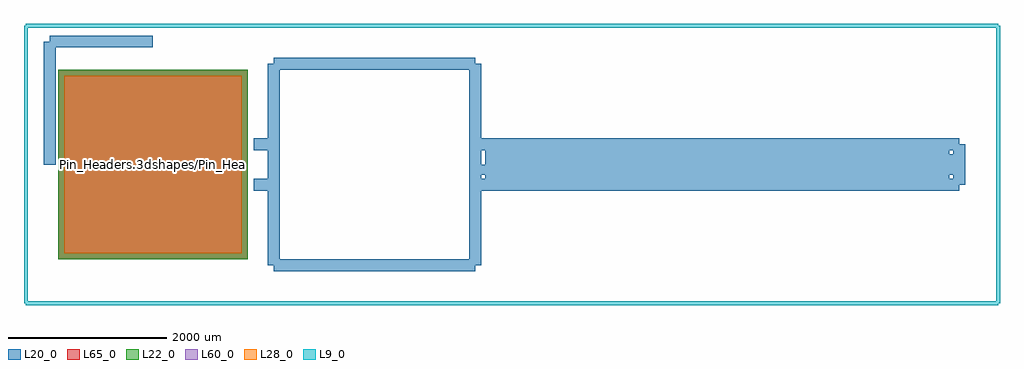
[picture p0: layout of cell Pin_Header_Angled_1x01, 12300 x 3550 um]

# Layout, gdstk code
import gdstk
lib = gdstk.Library(unit=1e-6, precision=1e-09)
def R(c, l, rs):  # rectangles x0, y0, x1, y1
    for r in rs: c.add(gdstk.rectangle(r[:2], r[2:], *l))
L9_0 = (9, 0)
L20_0 = (20, 0)
L22_0 = (22, 0)
L28_0 = (28, 0)
L60_0 = (60, 0)
L65_0 = (65, 0)

pin_header_angled_1x01 = lib.new_cell('Pin_Header_Angled_1x01')
R(pin_header_angled_1x01, L22_0, [(-1192.6,-1192.6,1192.6,1192.6)])
R(pin_header_angled_1x01, L28_0, [(-1117.6,-1117.6,1117.6,1117.6)])
R(pin_header_angled_1x01, L60_0, [(-1117.6,-1117.6,1117.6,1117.6)])
R(pin_header_angled_1x01, L65_0, [(-1192.6,-1192.6,1192.6,1192.6)])
pin_header_angled_1x01.add(gdstk.FlexPath([(4064,-1270),(4064,1270)], 149.998, ends="flush", simple_path=True, layer=20, datatype=0))  # L20_0
pin_header_angled_1x01.add(gdstk.FlexPath([(10160,-254),(4064,-254)], 149.998, ends="flush", simple_path=True, layer=20, datatype=0))  # L20_0
pin_header_angled_1x01.add(gdstk.FlexPath([(10160,254),(10160,-254)], 149.998, ends="flush", simple_path=True, layer=20, datatype=0))  # L20_0
pin_header_angled_1x01.add(gdstk.FlexPath([(4064,254),(10160,254)], 149.998, ends="flush", simple_path=True, layer=20, datatype=0))  # L20_0
pin_header_angled_1x01.add(gdstk.FlexPath([(1524,-1270),(4064,-1270)], 149.998, ends="flush", simple_path=True, layer=20, datatype=0))  # L20_0
pin_header_angled_1x01.add(gdstk.FlexPath([(1524,1270),(1524,-1270)], 149.998, ends="flush", simple_path=True, layer=20, datatype=0))  # L20_0
pin_header_angled_1x01.add(gdstk.FlexPath([(1524,1270),(4064,1270)], 149.998, ends="flush", simple_path=True, layer=20, datatype=0))  # L20_0
pin_header_angled_1x01.add(gdstk.FlexPath([(1524,254),(1270,254)], 149.998, ends="flush", simple_path=True, layer=20, datatype=0))  # L20_0
pin_header_angled_1x01.add(gdstk.FlexPath([(1524,-254),(1270,-254)], 149.998, ends="flush", simple_path=True, layer=20, datatype=0))  # L20_0
pin_header_angled_1x01.add(gdstk.FlexPath([(4191,0),(10033,0)], 149.998, ends="flush", simple_path=True, layer=20, datatype=0))  # L20_0
pin_header_angled_1x01.add(gdstk.FlexPath([(4191,-127),(4191,0)], 149.998, ends="flush", simple_path=True, layer=20, datatype=0))  # L20_0
pin_header_angled_1x01.add(gdstk.FlexPath([(10033,-127),(4191,-127)], 149.998, ends="flush", simple_path=True, layer=20, datatype=0))  # L20_0
pin_header_angled_1x01.add(gdstk.FlexPath([(10033,127),(10033,-127)], 149.998, ends="flush", simple_path=True, layer=20, datatype=0))  # L20_0
pin_header_angled_1x01.add(gdstk.FlexPath([(4191,127),(10033,127)], 149.998, ends="flush", simple_path=True, layer=20, datatype=0))  # L20_0
pin_header_angled_1x01.add(gdstk.FlexPath([(0,1550),(-1300,1550)], 149.998, ends="flush", simple_path=True, layer=20, datatype=0))  # L20_0
pin_header_angled_1x01.add(gdstk.FlexPath([(-1300,1550),(-1300,0)], 149.998, ends="flush", simple_path=True, layer=20, datatype=0))  # L20_0
pin_header_angled_1x01.add(gdstk.FlexPath([(-1600,-1750),(10650,-1750)], 50, ends="flush", simple_path=True, layer=9, datatype=0))  # L9_0
pin_header_angled_1x01.add(gdstk.FlexPath([(-1600,1750),(10650,1750)], 50, ends="flush", simple_path=True, layer=9, datatype=0))  # L9_0
pin_header_angled_1x01.add(gdstk.FlexPath([(10650,1750),(10650,-1750)], 50, ends="flush", simple_path=True, layer=9, datatype=0))  # L9_0
pin_header_angled_1x01.add(gdstk.FlexPath([(-1600,1750),(-1600,-1750)], 50, ends="flush", simple_path=True, layer=9, datatype=0))  # L9_0
pin_header_angled_1x01.add(gdstk.Label('Pin_Headers.3dshapes/Pin_Header_Angled_1x01.wrl', (0,0), layer=12, texttype=0))
pin_header_angled_1x01.add(gdstk.Label('1', (0,0), layer=28, texttype=0))
pin_header_angled_1x01.add(gdstk.Label('type', (0,3100), layer=9, texttype=0))
pin_header_angled_1x01.add(gdstk.Label('devicename', (0,5100), layer=9, texttype=0))

lib.write_gds('Pin_Header_Angled_1x01.gds')
